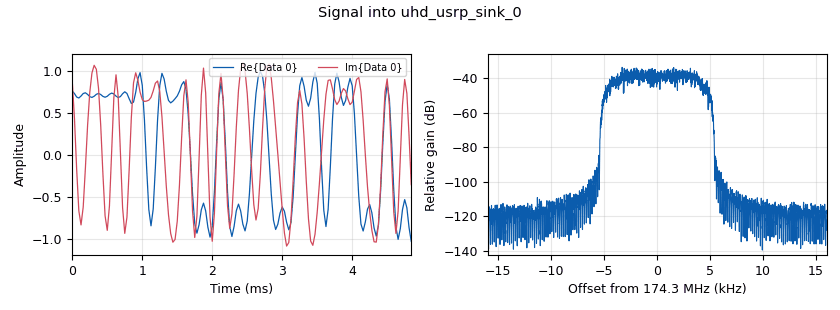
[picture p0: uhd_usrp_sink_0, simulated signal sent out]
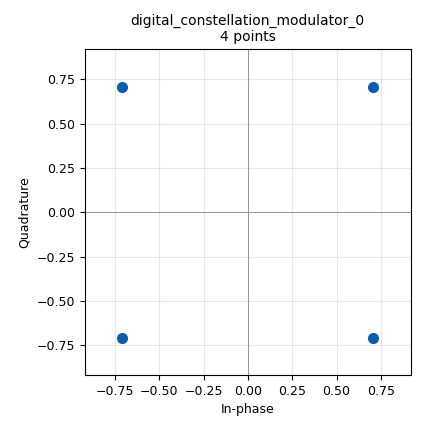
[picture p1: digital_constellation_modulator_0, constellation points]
<?xml version='1.0' encoding='utf-8'?>
<?grc format='1' created='3.7.12'?>
<flow_graph>
<block>
<key>options</key>
<param><key>id</key><value>mpsk_stage1</value></param>
<param><key>category</key><value>Custom</value></param>
<param><key>generate_options</key><value>qt_gui</value></param>
</block>
<block>
<key>variable</key>
<param><key>id</key><value>arity</value></param>
<param><key>value</key><value>4</value></param>
</block>
<block>
<key>variable_constellation</key>
<param><key>id</key><value>const</value></param>
<param><key>type</key><value>qpsk</value></param>
<param><key>precision</key><value>8</value></param>
</block>
<block>
<key>variable</key>
<param><key>id</key><value>excess_bw</value></param>
<param><key>value</key><value>0.35</value></param>
</block>
<block>
<key>variable</key>
<param><key>id</key><value>rrc_taps</value></param>
<param><key>value</key><value>firdes.root_raised_cosine(1, sps, 1, excess_bw, 45)</value></param>
</block>
<block>
<key>variable</key>
<param><key>id</key><value>samp_rate</value></param>
<param><key>value</key><value>32000</value></param>
</block>
<block>
<key>variable</key>
<param><key>id</key><value>sps</value></param>
<param><key>value</key><value>4</value></param>
</block>
<block>
<key>analog_random_source_x</key>
<param><key>id</key><value>analog_random_source_x_0</value></param>
<param><key>max</key><value>256</value></param>
<param><key>min</key><value>0</value></param>
<param><key>num_samps</key><value>10000</value></param>
<param><key>type</key><value>byte</value></param>
<param><key>repeat</key><value>True</value></param>
</block>
<block>
<key>blocks_throttle</key>
<param><key>id</key><value>blocks_throttle_0</value></param>
<param><key>samples_per_second</key><value>samp_rate</value></param>
<param><key>type</key><value>complex</value></param>
</block>
<block>
<key>digital_constellation_modulator</key>
<param><key>id</key><value>digital_constellation_modulator_0</value></param>
<param><key>constellation</key><value>const</value></param>
<param><key>differential</key><value>True</value></param>
<param><key>excess_bw</key><value>excess_bw</value></param>
<param><key>samples_per_symbol</key><value>sps</value></param>
</block>
<block>
<key>uhd_usrp_sink</key>
<param><key>id</key><value>uhd_usrp_sink_0</value></param>
<param><key>ant0</key><value>TX/RX</value></param>
<param><key>center_freq0</key><value>174.3e6</value></param>
<param><key>norm_gain0</key><value>False</value></param>
<param><key>gain0</key><value>50</value></param>
<param><key>clock_rate</key><value>0.0</value></param>
<param><key>dev_args</key><value>""</value></param>
<param><key>type</key><value>fc32</value></param>
<param><key>samp_rate</key><value>samp_rate</value></param>
<param><key>hide_cmd_port</key><value>False</value></param>
<param><key>hide_lo_controls</key><value>True</value></param>
<param><key>sync</key><value></value></param>
<param><key>len_tag_name</key><value></value></param>
</block>
<connection><source_block_id>analog_random_source_x_0</source_block_id><sink_block_id>digital_constellation_modulator_0</sink_block_id><source_key>0</source_key><sink_key>0</sink_key></connection>
<connection><source_block_id>blocks_throttle_0</source_block_id><sink_block_id>uhd_usrp_sink_0</sink_block_id><source_key>0</source_key><sink_key>0</sink_key></connection>
<connection><source_block_id>digital_constellation_modulator_0</source_block_id><sink_block_id>blocks_throttle_0</sink_block_id><source_key>0</source_key><sink_key>0</sink_key></connection>
</flow_graph>
